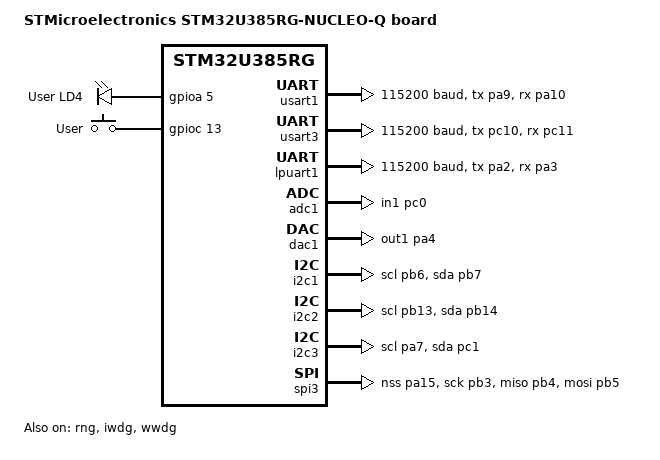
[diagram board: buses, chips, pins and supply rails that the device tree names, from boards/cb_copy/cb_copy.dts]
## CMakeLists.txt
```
cmake_minimum_required(VERSION 3.20.0)

list(APPEND BOARD_ROOT ${CMAKE_CURRENT_SOURCE_DIR})
list(APPEND DTS_ROOT ${CMAKE_CURRENT_SOURCE_DIR}/..)
find_package(Zephyr REQUIRED)
project(my_zephyr_app)

target_sources(app PRIVATE src/main.cpp)

add_subdirectory(drivers/our_driver)
```

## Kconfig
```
config APP_HEARTBEAT_PERIOD_MS
    int "Heartbeat period (ms)"
    default 500
    range 100 2000

source "Kconfig.zephyr"
rsource "drivers/our_driver/Kconfig"
```

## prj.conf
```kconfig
CONFIG_LOG=y
CONFIG_OUR_DRIVER=y
CONFIG_SHELL=y
```

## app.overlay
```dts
/ {
    our_driver0: our_driver {
        compatible = "our,driver";
        status = "okay";

        led = <&green_led_2>;
    };
};
```

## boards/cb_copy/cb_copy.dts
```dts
/*
 * Copyright (c) 2025 STMicroelectronics
 *
 * SPDX-License-Identifier: Apache-2.0
 */

/dts-v1/;
#include <st/u3/stm32u385Xg.dtsi>
#include <st/u3/stm32u385rgtxq-pinctrl.dtsi>
#include <zephyr/dt-bindings/input/input-event-codes.h>

/ {
	model = "STMicroelectronics STM32U385RG-NUCLEO-Q board";
	compatible = "st,stm32u385rg-nucleo-q";

	chosen {
		zephyr,console = &usart1;
		zephyr,shell-uart = &usart1;
		zephyr,sram = &sram0;
		zephyr,flash = &flash0;
		zephyr,code-partition = &slot0_partition;
	};

	leds: leds {
		compatible = "gpio-leds";

		green_led_2: led_2 {
			gpios = <&gpioa 5 GPIO_ACTIVE_HIGH>;
			label = "User LD4";
		};
	};

	gpio_keys {
		compatible = "gpio-keys";

		user_button: button {
			label = "User";
			gpios = <&gpioc 13 GPIO_ACTIVE_HIGH>;
			zephyr,code = <INPUT_KEY_0>;
		};
	};

	aliases {
		led0 = &green_led_2;
		sw0 = &user_button;
		watchdog0 = &iwdg;
	};
};

&flash0 {
	partitions {
		compatible = "fixed-partitions";
		#address-cells = <1>;
		#size-cells = <1>;

		/*
		 * The following partitioning is dedicated to the use of nucleo_u385rg_q
		 * with TZEN=0 (i.e., without TF-M).
		 * Place partitions within first 512 KiB to make use of the whole Bank1.
		 */
		boot_partition: partition@0 {
			label = "mcuboot";
			reg = <0x00000000 DT_SIZE_K(64)>;
		};

		slot0_partition: partition@10000 {
			label = "image-0";
			reg = <0x00010000 DT_SIZE_K(192)>;
		};

		slot1_partition: partition@40000 {
			label = "image-1";
			reg = <0x00040000 DT_SIZE_K(192)>;
		};

		storage_partition: partition@70000 {
			label = "storage";
			reg = <0x00070000 DT_SIZE_K(64)>;
		};
	};
};

&usart1 {
	pinctrl-0 = <&usart1_tx_pa9 &usart1_rx_pa10>;
	pinctrl-names = "default";
	current-speed = <115200>;
	status = "okay";
};

&usart3 {
	pinctrl-0 = <&usart3_tx_pc10 &usart3_rx_pc11>;
	pinctrl-names = "default";
	current-speed = <115200>;
	status = "okay";
};

&lpuart1 {
	pinctrl-0 = <&lpuart1_tx_pa2 &lpuart1_rx_pa3>;
	pinctrl-names = "default";
	current-speed = <115200>;
	status = "okay";
};

&clk_hsi {
	status = "okay";
};

&clk_lse {
	status = "okay";
};

&clk_msis {
	status = "okay";
	msi-pll-mode;
	msi-range = <0>; /* 96MHz (reset value) */
};

&rcc {
	clocks = <&clk_msis>;
	clock-frequency = <DT_FREQ_M(96)>;
	ahb-prescaler = <1>;
	apb1-prescaler = <1>;
	apb2-prescaler = <1>;
	apb3-prescaler = <1>;
};

&clk_lsi {
	status = "okay";
};

&adc1 {
	pinctrl-0 = <&adc1_in1_pc0>;
	pinctrl-names = "default";
	status = "okay";
};

&dac1 {
	status = "okay";
	pinctrl-0 = <&dac1_out1_pa4>;
	pinctrl-names = "default";
};

&i2c1 {
	pinctrl-0 = <&i2c1_scl_pb6 &i2c1_sda_pb7>;
	pinctrl-names = "default";
	status = "okay";
};

&i2c2 {
	pinctrl-0 = <&i2c2_scl_pb13 &i2c2_sda_pb14>;
	pinctrl-names = "default";
	status = "okay";
};

&i2c3 {
	pinctrl-0 = <&i2c3_scl_pa7 &i2c3_sda_pc1>;
	pinctrl-names = "default";
	status = "okay";
};

&rng {
	status = "okay";
};

&spi3 {
	pinctrl-0 = <&spi3_nss_pa15 &spi3_sck_pb3
		     &spi3_miso_pb4 &spi3_mosi_pb5>;
	pinctrl-names = "default";
	status = "okay";
};

&iwdg {
	status = "okay";
};

&wwdg {
	status = "okay";
};
```

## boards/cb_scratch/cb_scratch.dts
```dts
/dts-v1/;
#include <st/u3/stm32u385Xg.dtsi>
#include <st/u3/stm32u385rgtxq-pinctrl.dtsi>
#include <zephyr/dt-bindings/input/input-event-codes.h>
/{
    model = "Our Board";
    compatible = "mfelder,cb-scratch";
    chosen {
        zephyr,console = &usart1;
		zephyr,shell-uart = &usart1;
        zephyr,flash = &flash0;
        zephyr,sram = &sram0;
        zephyr,code-partition = &slot0_partition;
    };

    leds: leds {
		compatible = "gpio-leds";

		green_led_2: led_2 {
			gpios = <&gpioa 5 GPIO_ACTIVE_HIGH>;
			label = "User LD4";
		};
	};

    aliases {
		led0 = &green_led_2;
	};
};

&flash0 {
	partitions {
		compatible = "fixed-partitions";
		#address-cells = <1>;
		#size-cells = <1>;

		/*
		 * The following partitioning is dedicated to the use of nucleo_u385rg_q
		 * with TZEN=0 (i.e., without TF-M).
		 * Place partitions within first 512 KiB to make use of the whole Bank1.
		 */
		boot_partition: partition@0 {
			label = "mcuboot";
			reg = <0x00000000 DT_SIZE_K(64)>;
		};

		slot0_partition: partition@10000 {
			label = "image-0";
			reg = <0x00010000 DT_SIZE_K(192)>;
		};

		slot1_partition: partition@40000 {
			label = "image-1";
			reg = <0x00040000 DT_SIZE_K(192)>;
		};

		storage_partition: partition@70000 {
			label = "storage";
			reg = <0x00070000 DT_SIZE_K(64)>;
		};
	};
};

&usart1 {
	pinctrl-0 = <&usart1_tx_pa9 &usart1_rx_pa10>;
	pinctrl-names = "default";
	current-speed = <115200>;
	status = "okay";
};

&clk_hsi {
	status = "okay";
};

&clk_lse {
	status = "okay";
};

&clk_msis {
	status = "okay";
	msi-pll-mode;
	msi-range = <0>; /* 96MHz (reset value) */
};

&rcc {
	clocks = <&clk_msis>;
	clock-frequency = <DT_FREQ_M(96)>;
	ahb-prescaler = <1>;
	apb1-prescaler = <1>;
	apb2-prescaler = <1>;
	apb3-prescaler = <1>;
};

&clk_lsi {
	status = "okay";
};
```

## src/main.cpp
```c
#include <zephyr/kernel.h>
#include <zephyr/logging/log.h>
#include "../drivers/our_driver/our_driver.h"

/* The devicetree node identifier for the "led0" alias. */
#define LED_NODE DT_ALIAS(app_led)

static const struct device * driver = DEVICE_DT_GET(DT_NODELABEL(our_driver0));

LOG_MODULE_REGISTER(main, LOG_LEVEL_INF);

int main(void)
{
    bool led_state = true;

    if (!device_is_ready(driver)) {
        LOG_ERR("Our driver is not ready");
        return -ENODEV;
    }

    int ret = sensor_sample_fetch(driver);
    if (ret < 0) {
        LOG_ERR("Failed to fetch sample from our driver");
        return -EIO;
    }

    int value = 42;
    our_driver_extension_func(driver, &value);

    while (1) {
        
        led_state = !led_state;
        if(led_state) {
            ret = sensor_sample_fetch(driver);
            if (ret < 0) {
                LOG_ERR("Failed to fetch sample from our driver");
                return -EIO;
            }
        } else {
            ret = sensor_channel_get(driver, SENSOR_CHAN_ALL , NULL);
            if (ret < 0) {
                LOG_ERR("Failed to get channel value from our driver");
                return -EIO;
            }
        }
        k_msleep(CONFIG_APP_HEARTBEAT_PERIOD_MS);
    }
    return 0;
}
```
